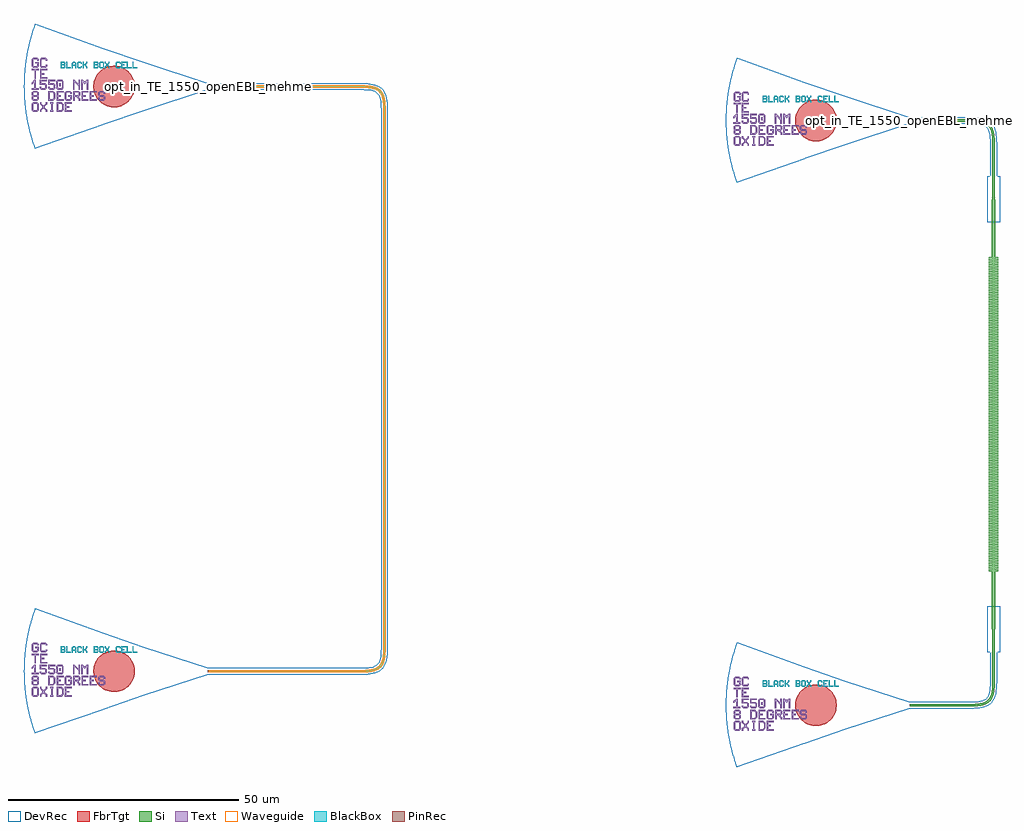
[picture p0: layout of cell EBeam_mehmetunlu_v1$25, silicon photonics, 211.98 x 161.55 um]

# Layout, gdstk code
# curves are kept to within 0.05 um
from math import pi, radians
import gdstk
lib = gdstk.Library(unit=1e-6, precision=1e-09)
def R(c, l, rs):  # rectangles x0, y0, x1, y1
    for r in rs: c.add(gdstk.rectangle(r[:2], r[2:], *l))
def P(c, l, *ps):  # polygons
    for p in ps: c.add(gdstk.Polygon(p, *l))
Si = (1, 0)
PinRec = (1, 10)
Waveguide = (1, 99)
Text = (10, 0)
DevRec = (68, 0)
FbrTgt = (81, 0)
BlackBox = (998, 0)

ebeam_taper_te1550_1_9_1 = lib.new_cell('ebeam_taper_te1550$1$9$1')
P(ebeam_taper_te1550_1_9_1, Si, [(10,-0.35),(0,-0.25),(0,0.25),(10,0.35)])
R(ebeam_taper_te1550_1_9_1, DevRec, [(0,-1.4,10,1.4)])
ebeam_taper_te1550_1_9_1.add(gdstk.FlexPath([(9.99,0),(10.01,0)], 0.7, ends="flush", simple_path=True, layer=1, datatype=10))  # PinRec
ebeam_taper_te1550_1_9_1.add(gdstk.FlexPath([(0.01,0),(-0.01,0)], 0.5, ends="flush", simple_path=True, layer=1, datatype=10))  # PinRec
ebeam_taper_te1550_1_9_1.add(gdstk.Label('pin2', (10,0), layer=1, texttype=10))
ebeam_taper_te1550_1_9_1.add(gdstk.Label('pin1', (0,0), layer=1, texttype=10))
ebeam_taper_te1550_1_9_1.add(gdstk.Label('Spice_param:wg_width1=0.500u wg_width2=0.700u wg_length=10.000u', (1,0.25), layer=68, texttype=0))
ebeam_taper_te1550_1_9_1.add(gdstk.Label('Component=ebeam_taper_te1550', (1,0.125), layer=68, texttype=0))
ebeam_taper_te1550_1_9_1.add(gdstk.Label('Lumerical_INTERCONNECT_library=Design kits/ebeam', (0.05,0), layer=68, texttype=0))

text_1 = lib.new_cell('TEXT$1')
P(text_1, BlackBox, [(0,0),(0,1.4),(0.8,1.4),(1,1.2),(0.2,1.2),(0.2,0.8),(0.7,0.8),(0.8,0.9),(0.8,1.1),(0.7,1.2),(1,1.2),(1,0.8),(0.9,0.7),(1,0.6),(0.2,0.6),(0.2,0.2),(0.7,0.2),(0.8,0.3),(0.8,0.5),(0.7,0.6),(1,0.6),(1,0.2),(0.8,0)],
  [(1.2,0),(1.2,1.4),(1.4,1.4),(1.4,0.2),(2.2,0.2),(2.2,0)],
  [(2.4,0),(2.4,1.1),(2.7,1.4),(3.1,1.4),(3.3,1.2),(2.8,1.2),(2.6,1),(2.6,0.7),(3.2,0.7),(3.2,1),(3,1.2),(3.3,1.2),(3.4,1.1),(3.4,0),(3.2,0),(3.2,0.5),(2.6,0.5),(2.6,0)],
  [(3.8,0),(3.6,0.2),(3.6,1.2),(3.8,1.4),(4.4,1.4),(4.6,1.2),(4.6,1),(4.4,1),(4.4,1.1),(4.3,1.2),(3.9,1.2),(3.8,1.1),(3.8,0.3),(3.9,0.2),(4.3,0.2),(4.4,0.3),(4.4,0.4),(4.6,0.4),(4.6,0.2),(4.4,0)],
  [(4.8,0),(4.8,1.4),(5,1.4),(5,0.8),(5.2,0.8),(5.6,1.2),(5.6,1.4),(5.8,1.4),(5.8,1.1),(5.4,0.7),(5.8,0.3),(5.8,0),(5.6,0),(5.6,0.2),(5.2,0.6),(5,0.6),(5,0)],
  [(7.2,0),(7.2,1.4),(8,1.4),(8.2,1.2),(7.4,1.2),(7.4,0.8),(7.9,0.8),(8,0.9),(8,1.1),(7.9,1.2),(8.2,1.2),(8.2,0.8),(8.1,0.7),(8.2,0.6),(7.4,0.6),(7.4,0.2),(7.9,0.2),(8,0.3),(8,0.5),(7.9,0.6),(8.2,0.6),(8.2,0.2),(8,0)],
  [(8.6,0),(8.4,0.2),(8.4,1.2),(8.6,1.4),(9.2,1.4),(9.4,1.2),(9.4,0.7),(9.2,0.7),(9.2,1.1),(9.1,1.2),(8.7,1.2),(8.6,1.1),(8.6,0.3),(8.7,0.2),(9.1,0.2),(9.2,0.3),(9.2,0.7),(9.4,0.7),(9.4,0.2),(9.2,0)],
  [(9.6,0),(9.6,0.3),(9.9,0.6),(9.9,0.8),(9.6,1.1),(9.6,1.4),(9.8,1.4),(9.8,1.2),(10.1,0.9),(10.4,1.2),(10.4,1.4),(10.6,1.4),(10.6,1.1),(10.3,0.8),(10.3,0.6),(10.6,0.3),(10.6,0),(10.4,0),(10.4,0.2),(10.1,0.5),(9.8,0.2),(9.8,0)],
  [(12.2,0),(12,0.2),(12,1.2),(12.2,1.4),(12.8,1.4),(13,1.2),(13,1),(12.8,1),(12.8,1.1),(12.7,1.2),(12.3,1.2),(12.2,1.1),(12.2,0.3),(12.3,0.2),(12.7,0.2),(12.8,0.3),(12.8,0.4),(13,0.4),(13,0.2),(12.8,0)],
  [(13.2,0),(13.2,1.4),(14.2,1.4),(14.2,1.2),(13.4,1.2),(13.4,0.8),(13.8,0.8),(13.8,0.6),(13.4,0.6),(13.4,0.2),(14.2,0.2),(14.2,0)],
  [(14.4,0),(14.4,1.4),(14.6,1.4),(14.6,0.2),(15.4,0.2),(15.4,0)],
  [(15.6,0),(15.6,1.4),(15.8,1.4),(15.8,0.2),(16.6,0.2),(16.6,0)])

gc_te_1550_8degoxide_bb_ = lib.new_cell('GC_TE_1550_8degOxide_BB$1')
R(gc_te_1550_8degoxide_bb_, Text, [(-32.313,0.092,-32.013,0.692)])
P(gc_te_1550_8degoxide_bb_, Text, [(-37.67,1.71),(-37.67,3.51),(-38.27,3.51),(-38.27,3.81),(-36.77,3.81),(-36.77,3.51),(-37.37,3.51),(-37.37,1.71)],
  [(-37.97,-5.49),(-38.27,-5.19),(-38.27,-3.69),(-37.97,-3.39),(-37.07,-3.39),(-36.77,-3.69),(-36.77,-4.44),(-37.07,-4.44),(-37.07,-3.84),(-37.22,-3.69),(-37.82,-3.69),(-37.97,-3.84),(-37.97,-5.04),(-37.82,-5.19),(-37.22,-5.19),(-37.07,-5.04),(-37.07,-4.44),(-36.77,-4.44),(-36.77,-5.19),(-37.07,-5.49)],
  [(-31.07,-5.49),(-31.07,-3.39),(-29.57,-3.39),(-29.57,-3.69),(-30.77,-3.69),(-30.77,-4.29),(-30.17,-4.29),(-30.17,-4.59),(-30.77,-4.59),(-30.77,-5.19),(-29.57,-5.19),(-29.57,-5.49)],
  [(-32.87,-3.09),(-32.87,-0.99),(-31.37,-0.99),(-31.37,-1.29),(-32.57,-1.29),(-32.57,-1.89),(-31.97,-1.89),(-31.97,-2.19),(-32.57,-2.19),(-32.57,-2.79),(-31.37,-2.79),(-31.37,-3.09)],
  [(-27.47,-3.09),(-27.47,-0.99),(-25.97,-0.99),(-25.97,-1.29),(-27.17,-1.29),(-27.17,-1.89),(-26.57,-1.89),(-26.57,-2.19),(-27.17,-2.19),(-27.17,-2.79),(-25.97,-2.79),(-25.97,-3.09)],
  [(-25.67,-3.09),(-25.67,-0.99),(-24.17,-0.99),(-24.17,-1.29),(-25.37,-1.29),(-25.37,-1.89),(-24.77,-1.89),(-24.77,-2.19),(-25.37,-2.19),(-25.37,-2.79),(-24.17,-2.79),(-24.17,-3.09)],
  [(-36.47,1.71),(-36.47,3.81),(-34.97,3.81),(-34.97,3.51),(-36.17,3.51),(-36.17,2.91),(-35.57,2.91),(-35.57,2.61),(-36.17,2.61),(-36.17,2.01),(-34.97,2.01),(-34.97,1.71)],
  [(-29.313,-0.658),(-29.313,1.442),(-29.013,1.442),(-28.263,0.692),(-28.113,0.692),(-28.113,1.442),(-27.813,1.442),(-27.813,-0.658),(-28.113,-0.658),(-28.113,0.092),(-28.863,0.842),(-29.013,0.842),(-29.013,-0.658)],
  [(-34.22,-5.49),(-34.22,-5.19),(-34.07,-5.19),(-34.07,-3.69),(-34.22,-3.69),(-34.22,-3.39),(-33.62,-3.39),(-33.62,-3.69),(-33.77,-3.69),(-33.77,-5.19),(-33.62,-5.19),(-33.62,-5.49)],
  [(-36.17,4.11),(-36.47,4.41),(-36.47,5.91),(-36.17,6.21),(-35.27,6.21),(-34.97,5.91),(-34.97,5.61),(-35.27,5.61),(-35.27,5.76),(-35.42,5.91),(-36.02,5.91),(-36.17,5.76),(-36.17,4.56),(-36.02,4.41),(-35.42,4.41),(-35.27,4.56),(-35.27,4.71),(-34.97,4.71),(-34.97,4.41),(-35.27,4.11)],
  [(-27.513,-0.658),(-27.513,1.442),(-27.213,1.442),(-26.913,1.142),(-26.613,1.142),(-26.313,1.442),(-26.013,1.442),(-26.013,-0.658),(-26.313,-0.658),(-26.313,0.842),(-26.463,0.842),(-26.763,0.542),(-27.063,0.842),(-27.213,0.842),(-27.213,-0.658)],
  [(-32.613,-0.658),(-32.913,-0.358),(-32.913,1.142),(-32.613,1.442),(-31.713,1.442),(-31.413,1.142),(-32.463,1.142),(-32.613,0.992),(-32.613,-0.208),(-32.463,-0.358),(-31.863,-0.358),(-31.713,-0.208),(-31.713,0.992),(-31.863,1.142),(-31.413,1.142),(-31.413,-0.358),(-31.713,-0.658)],
  [(-32.87,-5.49),(-32.87,-3.39),(-31.82,-3.39),(-31.52,-3.69),(-32.57,-3.69),(-32.57,-5.19),(-31.97,-5.19),(-31.67,-4.89),(-31.67,-3.99),(-31.97,-3.69),(-31.52,-3.69),(-31.37,-3.84),(-31.37,-5.04),(-31.82,-5.49)],
  [(-34.67,-3.09),(-34.67,-0.99),(-33.62,-0.99),(-33.32,-1.29),(-34.37,-1.29),(-34.37,-2.79),(-33.77,-2.79),(-33.47,-2.49),(-33.47,-1.59),(-33.77,-1.29),(-33.32,-1.29),(-33.17,-1.44),(-33.17,-2.64),(-33.62,-3.09)],
  [(-23.57,-3.09),(-23.87,-2.79),(-23.87,-2.49),(-23.57,-2.49),(-23.57,-2.64),(-23.42,-2.79),(-22.82,-2.79),(-22.67,-2.64),(-22.67,-2.34),(-22.82,-2.19),(-23.57,-2.19),(-23.87,-1.89),(-23.87,-1.29),(-23.57,-0.99),(-22.67,-0.99),(-22.37,-1.29),(-22.37,-1.59),(-22.67,-1.59),(-22.67,-1.44),(-22.82,-1.29),(-23.42,-1.29),(-23.57,-1.44),(-23.57,-1.74),(-23.42,-1.89),(-22.67,-1.89),(-22.37,-2.19),(-22.37,-2.79),(-22.67,-3.09)],
  [(-36.213,-0.658),(-36.513,-0.358),(-36.513,-0.058),(-36.213,-0.058),(-36.213,-0.208),(-36.063,-0.358),(-35.463,-0.358),(-35.313,-0.208),(-35.313,0.242),(-35.463,0.392),(-36.513,0.392),(-36.513,1.442),(-35.013,1.442),(-35.013,1.142),(-36.213,1.142),(-36.213,0.692),(-35.313,0.692),(-35.013,0.392),(-35.013,-0.358),(-35.313,-0.658)],
  [(-34.413,-0.658),(-34.713,-0.358),(-34.713,-0.058),(-34.413,-0.058),(-34.413,-0.208),(-34.263,-0.358),(-33.663,-0.358),(-33.513,-0.208),(-33.513,0.242),(-33.663,0.392),(-34.713,0.392),(-34.713,1.442),(-33.213,1.442),(-33.213,1.142),(-34.413,1.142),(-34.413,0.692),(-33.513,0.692),(-33.213,0.392),(-33.213,-0.358),(-33.513,-0.658)],
  [(-37.97,-3.09),(-38.27,-2.79),(-38.27,-2.19),(-38.12,-2.04),(-38.27,-1.89),(-38.27,-1.29),(-37.97,-0.99),(-37.07,-0.99),(-36.77,-1.29),(-37.82,-1.29),(-37.97,-1.44),(-37.97,-1.74),(-37.82,-1.89),(-37.22,-1.89),(-37.07,-1.74),(-37.07,-1.44),(-37.22,-1.29),(-36.77,-1.29),(-36.77,-1.89),(-36.92,-2.04),(-36.77,-2.19),(-37.82,-2.19),(-37.97,-2.34),(-37.97,-2.64),(-37.82,-2.79),(-37.22,-2.79),(-37.07,-2.64),(-37.07,-2.34),(-37.22,-2.19),(-36.77,-2.19),(-36.77,-2.79),(-37.07,-3.09)],
  [(-38.313,-0.658),(-38.313,-0.358),(-37.713,-0.358),(-37.713,0.842),(-37.863,0.842),(-38.163,0.542),(-38.313,0.542),(-38.313,0.842),(-37.713,1.442),(-37.413,1.442),(-37.413,-0.358),(-36.813,-0.358),(-36.813,-0.658)],
  [(-36.47,-5.49),(-36.47,-5.04),(-36.02,-4.59),(-36.02,-4.29),(-36.47,-3.84),(-36.47,-3.39),(-36.17,-3.39),(-36.17,-3.69),(-35.72,-4.14),(-35.27,-3.69),(-35.27,-3.39),(-34.97,-3.39),(-34.97,-3.84),(-35.42,-4.29),(-35.42,-4.59),(-34.97,-5.04),(-34.97,-5.49),(-35.27,-5.49),(-35.27,-5.19),(-35.72,-4.74),(-36.17,-5.19),(-36.17,-5.49)],
  [(-30.77,-3.09),(-31.07,-2.79),(-31.07,-1.29),(-30.77,-0.99),(-29.87,-0.99),(-29.57,-1.29),(-29.57,-1.59),(-29.87,-1.59),(-29.87,-1.44),(-30.02,-1.29),(-30.62,-1.29),(-30.77,-1.44),(-30.77,-2.64),(-30.62,-2.79),(-30.02,-2.79),(-29.87,-2.64),(-29.87,-2.19),(-30.32,-2.19),(-30.32,-1.89),(-29.57,-1.89),(-29.57,-2.79),(-29.87,-3.09)],
  [(-37.97,4.11),(-38.27,4.41),(-38.27,5.91),(-37.97,6.21),(-37.07,6.21),(-36.77,5.91),(-36.77,5.61),(-37.07,5.61),(-37.07,5.76),(-37.22,5.91),(-37.82,5.91),(-37.97,5.76),(-37.97,4.56),(-37.82,4.41),(-37.22,4.41),(-37.07,4.56),(-37.07,5.01),(-37.52,5.01),(-37.52,5.31),(-36.77,5.31),(-36.77,4.41),(-37.07,4.11)],
  [(-29.27,-3.09),(-29.27,-0.99),(-28.07,-0.99),(-27.77,-1.29),(-28.97,-1.29),(-28.97,-1.89),(-28.22,-1.89),(-28.07,-1.74),(-28.07,-1.44),(-28.22,-1.29),(-27.77,-1.29),(-27.77,-1.89),(-28.07,-2.19),(-28.07,-2.34),(-27.77,-2.64),(-27.77,-3.09),(-28.07,-3.09),(-28.07,-2.79),(-28.67,-2.19),(-28.97,-2.19),(-28.97,-3.09)])
P(gc_te_1550_8degoxide_bb_, DevRec, [(-37.607,-13.5),(-38.627,-10.245),(-39.378,-6.832),(-39.835,-3.274),(-39.969,0.224),(-39.812,3.541),(-39.331,7.097),(-38.557,10.505),(-37.546,13.669),(-22.8,8.353),(-14.109,5.36),(0,0.75),(0,-0.75),(-14.109,-5.36)])
P(gc_te_1550_8degoxide_bb_, FbrTgt, [(-20.621,-4.5),(-21.495,-4.37),(-22.326,-4.073),(-23.084,-3.619),(-23.738,-3.026),(-24.264,-2.316),(-24.642,-1.518),(-24.857,-0.661),(-24.9,0.221),(-24.77,1.095),(-24.473,1.926),(-24.019,2.684),(-23.426,3.338),(-22.716,3.864),(-21.918,4.242),(-21.061,4.457),(-20.179,4.5),(-19.305,4.37),(-18.474,4.073),(-17.716,3.619),(-17.062,3.026),(-16.536,2.316),(-16.158,1.518),(-15.943,0.661),(-15.9,-0.221),(-16.03,-1.095),(-16.327,-1.926),(-16.781,-2.684),(-17.374,-3.338),(-18.084,-3.864),(-18.882,-4.242),(-19.739,-4.457)])
gc_te_1550_8degoxide_bb_.add(gdstk.FlexPath([(-0.01,0),(0.01,0)], 0.5, ends="flush", simple_path=True, layer=1, datatype=10))  # PinRec
gc_te_1550_8degoxide_bb_.add(gdstk.Reference(text_1, (-32,4)))
gc_te_1550_8degoxide_bb_.add(gdstk.Label('opt1', (0,0), layer=1, texttype=10))
gc_te_1550_8degoxide_bb_.add(gdstk.Label('Component=GC_TE_1550_8degOxide_BB', (-28,-5), layer=68, texttype=0))

waveguide_3_33_1 = lib.new_cell('Waveguide$3$33$1')
P(waveguide_3_33_1, Si, [(-232.26,134.555),(-232.262,141.837),(-232.351,143.349),(-232.489,144.1),(-232.748,144.821),(-233.045,145.288),(-233.517,145.714),(-234.029,145.981),(-234.669,146.175),(-236.379,146.361),(-250.18,146.37),(-250.18,146.87),(-236.159,146.853),(-234.407,146.626),(-233.713,146.39),(-233.239,146.13),(-232.659,145.604),(-232.241,144.918),(-231.968,144.07),(-231.816,143.052),(-231.76,134.555)])
P(waveguide_3_33_1, DevRec, [(-232.76,134.555),(-232.803,142.851),(-233.036,144.196),(-233.296,144.779),(-233.635,145.178),(-234.115,145.475),(-234.817,145.695),(-236.361,145.86),(-250.18,145.87),(-250.18,147.37),(-235.66,147.324),(-233.983,147.025),(-233.06,146.609),(-232.661,146.318),(-232.313,145.97),(-231.788,145.13),(-231.606,144.648),(-231.372,143.573),(-231.26,141.633),(-231.26,134.555)])
waveguide_3_33_1.add(gdstk.FlexPath([(-232.01,134.565),(-232.01,134.545)], 0.5, ends="flush", simple_path=True, layer=1, datatype=10))  # PinRec
waveguide_3_33_1.add(gdstk.FlexPath([(-250.17,146.62),(-250.19,146.62)], 0.5, ends="flush", simple_path=True, layer=1, datatype=10))  # PinRec
waveguide_3_33_1.add(gdstk.Label('opt2', (-232.01,134.555), layer=1, texttype=10))
waveguide_3_33_1.add(gdstk.Label('opt1', (-250.18,146.62), layer=1, texttype=10))
waveguide_3_33_1.add(gdstk.Label('waveguide_type=Strip TE 1550 nm, w=500 nm', (-250.18,146.42), layer=68, texttype=0))
waveguide_3_33_1.add(gdstk.Label('Spice_param:wg_length=0.000028683 wg_width=5e-07 points="[[-250.18,146.62],[-232.01,146.62],[-232.01,134.555]]" radius=5e-06', (-250.18,146.62), layer=68, texttype=0))
waveguide_3_33_1.add(gdstk.Label('cellName=Waveguide', (-250.18,146.82), layer=68, texttype=0))
waveguide_3_33_1.add(gdstk.Label('Component=ebeam_wg_integral_1550', (-250.18,146.72), layer=68, texttype=0))
waveguide_3_33_1.add(gdstk.Label('Length=28.683 (microns)', (-250.18,146.02), layer=68, texttype=0))
waveguide_3_33_1.add(gdstk.Label('Lumerical_INTERCONNECT_library=Design kits/EBeam', (-250.18,146.52), layer=68, texttype=0))

waveguide_9_24_1 = lib.new_cell('Waveguide$9$24$1')
P(waveguide_9_24_1, Si, [(167.75,-199.92),(167.75,-199.42),(181.551,-199.411),(183.261,-199.225),(183.901,-199.031),(184.413,-198.764),(184.816,-198.417),(185.129,-197.974),(185.366,-197.412),(185.532,-196.715),(185.665,-195.098),(185.67,-188.145),(186.17,-188.145),(186.165,-195.108),(186.051,-196.634),(185.842,-197.564),(185.567,-198.214),(185.097,-198.847),(184.58,-199.251),(184.087,-199.495),(183.369,-199.713),(181.771,-199.903)])
P(waveguide_9_24_1, DevRec, [(167.75,-200.42),(167.75,-198.92),(181.569,-198.91),(183.113,-198.745),(184.078,-198.385),(184.477,-198.046),(184.774,-197.566),(184.994,-196.864),(185.127,-195.901),(185.17,-188.145),(186.67,-188.145),(186.67,-194.683),(186.558,-196.623),(186.324,-197.698),(185.908,-198.621),(185.617,-199.02),(184.87,-199.659),(184.429,-199.893),(183.429,-200.211),(181.621,-200.41)])
waveguide_9_24_1.add(gdstk.FlexPath([(185.92,-188.155),(185.92,-188.135)], 0.5, ends="flush", simple_path=True, layer=1, datatype=10))  # PinRec
waveguide_9_24_1.add(gdstk.FlexPath([(167.76,-199.67),(167.74,-199.67)], 0.5, ends="flush", simple_path=True, layer=1, datatype=10))  # PinRec
waveguide_9_24_1.add(gdstk.Label('opt2', (185.92,-188.145), layer=1, texttype=10))
waveguide_9_24_1.add(gdstk.Label('opt1', (167.75,-199.67), layer=1, texttype=10))
waveguide_9_24_1.add(gdstk.Label('waveguide_type=Strip TE 1550 nm, w=500 nm', (167.75,-199.87), layer=68, texttype=0))
waveguide_9_24_1.add(gdstk.Label('Length=28.143 (microns)', (167.75,-200.27), layer=68, texttype=0))
waveguide_9_24_1.add(gdstk.Label('Spice_param:wg_length=0.000028143 wg_width=5e-07 points="[[167.75,-199.67],[185.92,-199.67],[185.92,-188.145]]" radius=5e-06', (167.75,-199.67), layer=68, texttype=0))
waveguide_9_24_1.add(gdstk.Label('cellName=Waveguide', (167.75,-199.47), layer=68, texttype=0))
waveguide_9_24_1.add(gdstk.Label('Component=ebeam_wg_integral_1550', (167.75,-199.57), layer=68, texttype=0))
waveguide_9_24_1.add(gdstk.Label('Lumerical_INTERCONNECT_library=Design kits/EBeam', (167.75,-199.77), layer=68, texttype=0))

transition_tests_v03_d02 = lib.new_cell('transition_tests_v03_D02$1')
P(transition_tests_v03_d02, Si, [(9.5,0),(9.5,0.825),(9.31,0.825),(9.31,0.025),(9.12,0.025),(9.12,0.8),(8.93,0.8),(8.93,0.025),(8.74,0.025),(8.74,0.775),(8.55,0.775),(8.55,0.025),(8.36,0.025),(8.36,0.75),(8.17,0.75),(8.17,0.025),(7.98,0.025),(7.98,0.725),(7.79,0.725),(7.79,0.025),(7.6,0.025),(7.6,0.7),(0,0.7),(0,1.4),(7.6,1.4),(7.6,2.075),(7.79,2.075),(7.79,1.375),(7.98,1.375),(7.98,2.075),(8.17,2.075),(8.17,1.35),(8.36,1.35),(8.36,2.075),(8.55,2.075),(8.55,1.325),(8.74,1.325),(8.74,2.075),(8.93,2.075),(8.93,1.3),(9.12,1.3),(9.12,2.075),(9.31,2.075),(9.31,1.275),(9.5,1.275),(9.5,2.1),(9.69,2.1),(9.69,1.275),(9.88,1.275),(9.88,2.1),(10.07,2.1),(10.07,1.275),(10.26,1.275),(10.26,2.1),(10.45,2.1),(10.45,1.275),(10.64,1.275),(10.64,2.1),(10.83,2.1),(10.83,1.275),(11.02,1.275),(11.02,2.1),(11.21,2.1),(11.21,1.275),(11.4,1.275),(11.4,2.1),(11.59,2.1),(11.59,1.275),(11.78,1.275),(11.78,2.1),(11.97,2.1),(11.97,1.275),(12.16,1.275),(12.16,2.1),(12.35,2.1),(12.35,1.275),(12.54,1.275),(12.54,2.1),(12.73,2.1),(12.73,1.275),(12.92,1.275),(12.92,2.1),(13.11,2.1),(13.11,1.275),(13.3,1.275),(13.3,2.1),(13.49,2.1),(13.49,1.275),(13.68,1.275),(13.68,2.1),(13.87,2.1),(13.87,1.275),(14.06,1.275),(14.06,2.1),(14.25,2.1),(14.25,1.275),(14.44,1.275),(14.44,2.1),(14.63,2.1),(14.63,1.275),(14.82,1.275),(14.82,2.1),(15.01,2.1),(15.01,1.275),(15.2,1.275),(15.2,2.1),(15.39,2.1),(15.39,1.275),(15.58,1.275),(15.58,2.1),(15.77,2.1),(15.77,1.275),(15.96,1.275),(15.96,2.1),(16.15,2.1),(16.15,1.275),(16.34,1.275),(16.34,2.1),(16.53,2.1),(16.53,1.275),(16.72,1.275),(16.72,2.1),(16.91,2.1),(16.91,1.275),(17.1,1.275),(17.1,2.1),(17.29,2.1),(17.29,1.275),(17.48,1.275),(17.48,2.1),(17.67,2.1),(17.67,1.275),(17.86,1.275),(17.86,2.1),(18.05,2.1),(18.05,1.275),(18.24,1.275),(18.24,2.1),(18.43,2.1),(18.43,1.275),(18.62,1.275),(18.62,2.1),(18.81,2.1),(18.81,1.275),(19,1.275),(19,2.1),(19.19,2.1),(19.19,1.275),(19.38,1.275),(19.38,2.1),(19.57,2.1),(19.57,1.275),(19.76,1.275),(19.76,2.1),(19.95,2.1),(19.95,1.275),(20.14,1.275),(20.14,2.1),(20.33,2.1),(20.33,1.275),(20.52,1.275),(20.52,2.1),(20.71,2.1),(20.71,1.275),(20.9,1.275),(20.9,2.1),(21.09,2.1),(21.09,1.275),(21.28,1.275),(21.28,2.1),(21.47,2.1),(21.47,1.275),(21.66,1.275),(21.66,2.1),(21.85,2.1),(21.85,1.275),(22.04,1.275),(22.04,2.1),(22.23,2.1),(22.23,1.275),(22.42,1.275),(22.42,2.1),(22.61,2.1),(22.61,1.275),(22.8,1.275),(22.8,2.1),(22.99,2.1),(22.99,1.275),(23.18,1.275),(23.18,2.1),(23.37,2.1),(23.37,1.275),(23.56,1.275),(23.56,2.1),(23.75,2.1),(23.75,1.275),(23.94,1.275),(23.94,2.1),(24.13,2.1),(24.13,1.275),(24.32,1.275),(24.32,2.1),(24.51,2.1),(24.51,1.275),(24.7,1.275),(24.7,2.1),(24.89,2.1),(24.89,1.275),(25.08,1.275),(25.08,2.1),(25.27,2.1),(25.27,1.275),(25.46,1.275),(25.46,2.1),(25.65,2.1),(25.65,1.275),(25.84,1.275),(25.84,2.1),(26.03,2.1),(26.03,1.275),(26.22,1.275),(26.22,2.1),(26.41,2.1),(26.41,1.275),(26.6,1.275),(26.6,2.1),(26.79,2.1),(26.79,1.275),(26.98,1.275),(26.98,2.1),(27.17,2.1),(27.17,1.275),(27.36,1.275),(27.36,2.1),(27.55,2.1),(27.55,1.275),(27.74,1.275),(27.74,2.1),(27.93,2.1),(27.93,1.275),(28.12,1.275),(28.12,2.1),(28.31,2.1),(28.31,1.275),(28.5,1.275),(28.5,2.1),(28.69,2.1),(28.69,1.275),(28.88,1.275),(28.88,2.1),(29.07,2.1),(29.07,1.275),(29.26,1.275),(29.26,2.1),(29.45,2.1),(29.45,1.275),(29.64,1.275),(29.64,2.1),(29.83,2.1),(29.83,1.275),(30.02,1.275),(30.02,2.1),(30.21,2.1),(30.21,1.275),(30.4,1.275),(30.4,2.1),(30.59,2.1),(30.59,1.275),(30.78,1.275),(30.78,2.1),(30.97,2.1),(30.97,1.275),(31.16,1.275),(31.16,2.1),(31.35,2.1),(31.35,1.275),(31.54,1.275),(31.54,2.1),(31.73,2.1),(31.73,1.275),(31.92,1.275),(31.92,2.1),(32.11,2.1),(32.11,1.275),(32.3,1.275),(32.3,2.1),(32.49,2.1),(32.49,1.275),(32.68,1.275),(32.68,2.1),(32.87,2.1),(32.87,1.275),(33.06,1.275),(33.06,2.1),(33.25,2.1),(33.25,1.275),(33.44,1.275),(33.44,2.1),(33.63,2.1),(33.63,1.275),(33.82,1.275),(33.82,2.1),(34.01,2.1),(34.01,1.275),(34.2,1.275),(34.2,2.1),(34.39,2.1),(34.39,1.275),(34.58,1.275),(34.58,2.1),(34.77,2.1),(34.77,1.275),(34.96,1.275),(34.96,2.1),(35.15,2.1),(35.15,1.275),(35.34,1.275),(35.34,2.1),(35.53,2.1),(35.53,1.275),(35.72,1.275),(35.72,2.1),(35.91,2.1),(35.91,1.275),(36.1,1.275),(36.1,2.1),(36.29,2.1),(36.29,1.275),(36.48,1.275),(36.48,2.1),(36.67,2.1),(36.67,1.275),(36.86,1.275),(36.86,2.1),(37.05,2.1),(37.05,1.275),(37.24,1.275),(37.24,2.1),(37.43,2.1),(37.43,1.275),(37.62,1.275),(37.62,2.1),(37.81,2.1),(37.81,1.275),(38,1.275),(38,2.1),(38.19,2.1),(38.19,1.275),(38.38,1.275),(38.38,2.1),(38.57,2.1),(38.57,1.275),(38.76,1.275),(38.76,2.1),(38.95,2.1),(38.95,1.275),(39.14,1.275),(39.14,2.1),(39.33,2.1),(39.33,1.275),(39.52,1.275),(39.52,2.1),(39.71,2.1),(39.71,1.275),(39.9,1.275),(39.9,2.1),(40.09,2.1),(40.09,1.275),(40.28,1.275),(40.28,2.1),(40.47,2.1),(40.47,1.275),(40.66,1.275),(40.66,2.1),(40.85,2.1),(40.85,1.275),(41.04,1.275),(41.04,2.1),(41.23,2.1),(41.23,1.275),(41.42,1.275),(41.42,2.1),(41.61,2.1),(41.61,1.275),(41.8,1.275),(41.8,2.1),(41.99,2.1),(41.99,1.275),(42.18,1.275),(42.18,2.1),(42.37,2.1),(42.37,1.275),(42.56,1.275),(42.56,2.1),(42.75,2.1),(42.75,1.275),(42.94,1.275),(42.94,2.1),(43.13,2.1),(43.13,1.275),(43.32,1.275),(43.32,2.1),(43.51,2.1),(43.51,1.275),(43.7,1.275),(43.7,2.1),(43.89,2.1),(43.89,1.275),(44.08,1.275),(44.08,2.1),(44.27,2.1),(44.27,1.275),(44.46,1.275),(44.46,2.1),(44.65,2.1),(44.65,1.275),(44.84,1.275),(44.84,2.1),(45.03,2.1),(45.03,1.275),(45.22,1.275),(45.22,2.1),(45.41,2.1),(45.41,1.275),(45.6,1.275),(45.6,2.1),(45.79,2.1),(45.79,1.275),(45.98,1.275),(45.98,2.1),(46.17,2.1),(46.17,1.275),(46.36,1.275),(46.36,2.1),(46.55,2.1),(46.55,1.275),(46.74,1.275),(46.74,2.1),(46.93,2.1),(46.93,1.275),(47.12,1.275),(47.12,2.1),(47.31,2.1),(47.31,1.275),(47.5,1.275),(47.5,2.1),(47.69,2.1),(47.69,1.275),(47.88,1.275),(47.88,2.1),(48.07,2.1),(48.07,1.275),(48.26,1.275),(48.26,2.1),(48.45,2.1),(48.45,1.275),(48.64,1.275),(48.64,2.1),(48.83,2.1),(48.83,1.275),(49.02,1.275),(49.02,2.1),(49.21,2.1),(49.21,1.275),(49.4,1.275),(49.4,2.1),(49.59,2.1),(49.59,1.275),(49.78,1.275),(49.78,2.1),(49.97,2.1),(49.97,1.275),(50.16,1.275),(50.16,2.1),(50.35,2.1),(50.35,1.275),(50.54,1.275),(50.54,2.1),(50.73,2.1),(50.73,1.275),(50.92,1.275),(50.92,2.1),(51.11,2.1),(51.11,1.275),(51.3,1.275),(51.3,2.1),(51.49,2.1),(51.49,1.275),(51.68,1.275),(51.68,2.1),(51.87,2.1),(51.87,1.275),(52.06,1.275),(52.06,2.1),(52.25,2.1),(52.25,1.275),(52.44,1.275),(52.44,2.1),(52.63,2.1),(52.63,1.275),(52.82,1.275),(52.82,2.1),(53.01,2.1),(53.01,1.275),(53.2,1.275),(53.2,2.1),(53.39,2.1),(53.39,1.275),(53.58,1.275),(53.58,2.1),(53.77,2.1),(53.77,1.275),(53.96,1.275),(53.96,2.1),(54.15,2.1),(54.15,1.275),(54.34,1.275),(54.34,2.1),(54.53,2.1),(54.53,1.275),(54.72,1.275),(54.72,2.1),(54.91,2.1),(54.91,1.275),(55.1,1.275),(55.1,2.1),(55.29,2.1),(55.29,1.275),(55.48,1.275),(55.48,2.1),(55.67,2.1),(55.67,1.275),(55.86,1.275),(55.86,2.1),(56.05,2.1),(56.05,1.275),(56.24,1.275),(56.24,2.1),(56.43,2.1),(56.43,1.275),(56.62,1.275),(56.62,2.1),(56.81,2.1),(56.81,1.275),(57,1.275),(57,2.1),(57.19,2.1),(57.19,1.275),(57.38,1.275),(57.38,2.1),(57.57,2.1),(57.57,1.275),(57.76,1.275),(57.76,2.1),(57.95,2.1),(57.95,1.275),(58.14,1.275),(58.14,2.1),(58.33,2.1),(58.33,1.275),(58.52,1.275),(58.52,2.1),(58.71,2.1),(58.71,1.275),(58.9,1.275),(58.9,2.1),(59.09,2.1),(59.09,1.275),(59.28,1.275),(59.28,2.1),(59.47,2.1),(59.47,1.275),(59.66,1.275),(59.66,2.1),(59.85,2.1),(59.85,1.275),(60.04,1.275),(60.04,2.1),(60.23,2.1),(60.23,1.275),(60.42,1.275),(60.42,2.1),(60.61,2.1),(60.61,1.275),(60.8,1.275),(60.8,2.1),(60.99,2.1),(60.99,1.275),(61.18,1.275),(61.18,2.1),(61.37,2.1),(61.37,1.275),(61.56,1.275),(61.56,2.1),(61.75,2.1),(61.75,1.275),(61.94,1.275),(61.94,2.1),(62.13,2.1),(62.13,1.275),(62.32,1.275),(62.32,2.1),(62.51,2.1),(62.51,1.275),(62.7,1.275),(62.7,2.1),(62.89,2.1),(62.89,1.275),(63.08,1.275),(63.08,2.1),(63.27,2.1),(63.27,1.275),(63.46,1.275),(63.46,2.1),(63.65,2.1),(63.65,1.275),(63.84,1.275),(63.84,2.1),(64.03,2.1),(64.03,1.275),(64.22,1.275),(64.22,2.1),(64.41,2.1),(64.41,1.275),(64.6,1.275),(64.6,2.1),(64.79,2.1),(64.79,1.275),(64.98,1.275),(64.98,2.1),(65.17,2.1),(65.17,1.275),(65.36,1.275),(65.36,2.1),(65.55,2.1),(65.55,1.275),(65.74,1.275),(65.74,2.1),(65.93,2.1),(65.93,1.275),(66.12,1.275),(66.12,2.1),(66.31,2.1),(66.31,1.275),(66.5,1.275),(66.5,2.1),(66.69,2.1),(66.69,1.275),(66.88,1.275),(66.88,2.1),(67.07,2.1),(67.07,1.275),(67.26,1.275),(67.26,2.1),(67.45,2.1),(67.45,1.275),(67.64,1.275),(67.64,2.1),(67.83,2.1),(67.83,1.275),(68.02,1.275),(68.02,2.1),(68.21,2.1),(68.21,1.275),(68.4,1.275),(68.4,2.1),(68.59,2.1),(68.59,1.275),(68.78,1.275),(68.78,2.1),(68.97,2.1),(68.97,1.275),(69.16,1.275),(69.16,2.1),(69.35,2.1),(69.35,1.275),(69.54,1.275),(69.54,2.1),(69.73,2.1),(69.73,1.275),(69.92,1.275),(69.92,2.1),(70.11,2.1),(70.11,1.275),(70.3,1.275),(70.3,2.1),(70.49,2.1),(70.49,1.275),(70.68,1.275),(70.68,2.1),(70.87,2.1),(70.87,1.275),(71.06,1.275),(71.06,2.1),(71.25,2.1),(71.25,1.275),(71.44,1.275),(71.44,2.1),(71.63,2.1),(71.63,1.275),(71.82,1.275),(71.82,2.1),(72.01,2.1),(72.01,1.275),(72.2,1.275),(72.2,2.1),(72.39,2.1),(72.39,1.275),(72.58,1.275),(72.58,2.1),(72.77,2.1),(72.77,1.275),(72.96,1.275),(72.96,2.1),(73.15,2.1),(73.15,1.275),(73.34,1.275),(73.34,2.1),(73.53,2.1),(73.53,1.275),(73.72,1.275),(73.72,2.1),(73.91,2.1),(73.91,1.275),(74.1,1.275),(74.1,2.075),(74.29,2.075),(74.29,1.3),(74.48,1.3),(74.48,2.075),(74.67,2.075),(74.67,1.325),(74.86,1.325),(74.86,2.075),(75.05,2.075),(75.05,1.35),(75.24,1.35),(75.24,2.075),(75.43,2.075),(75.43,1.375),(75.62,1.375),(75.62,2.075),(75.81,2.075),(75.81,1.4),(83.41,1.4),(83.41,0.7),(75.81,0.7),(75.81,0.025),(75.62,0.025),(75.62,0.725),(75.43,0.725),(75.43,0.025),(75.24,0.025),(75.24,0.75),(75.05,0.75),(75.05,0.025),(74.86,0.025),(74.86,0.775),(74.67,0.775),(74.67,0.025),(74.48,0.025),(74.48,0.8),(74.29,0.8),(74.29,0.025),(74.1,0.025),(74.1,0.825),(73.91,0.825),(73.91,0),(73.72,0),(73.72,0.825),(73.53,0.825),(73.53,0),(73.34,0),(73.34,0.825),(73.15,0.825),(73.15,0),(72.96,0),(72.96,0.825),(72.77,0.825),(72.77,0),(72.58,0),(72.58,0.825),(72.39,0.825),(72.39,0),(72.2,0),(72.2,0.825),(72.01,0.825),(72.01,0),(71.82,0),(71.82,0.825),(71.63,0.825),(71.63,0),(71.44,0),(71.44,0.825),(71.25,0.825),(71.25,0),(71.06,0),(71.06,0.825),(70.87,0.825),(70.87,0),(70.68,0),(70.68,0.825),(70.49,0.825),(70.49,0),(70.3,0),(70.3,0.825),(70.11,0.825),(70.11,0),(69.92,0),(69.92,0.825),(69.73,0.825),(69.73,0),(69.54,0),(69.54,0.825),(69.35,0.825),(69.35,0),(69.16,0),(69.16,0.825),(68.97,0.825),(68.97,0),(68.78,0),(68.78,0.825),(68.59,0.825),(68.59,0),(68.4,0),(68.4,0.825),(68.21,0.825),(68.21,0),(68.02,0),(68.02,0.825),(67.83,0.825),(67.83,0),(67.64,0),(67.64,0.825),(67.45,0.825),(67.45,0),(67.26,0),(67.26,0.825),(67.07,0.825),(67.07,0),(66.88,0),(66.88,0.825),(66.69,0.825),(66.69,0),(66.5,0),(66.5,0.825),(66.31,0.825),(66.31,0),(66.12,0),(66.12,0.825),(65.93,0.825),(65.93,0),(65.74,0),(65.74,0.825),(65.55,0.825),(65.55,0),(65.36,0),(65.36,0.825),(65.17,0.825),(65.17,0),(64.98,0),(64.98,0.825),(64.79,0.825),(64.79,0),(64.6,0),(64.6,0.825),(64.41,0.825),(64.41,0),(64.22,0),(64.22,0.825),(64.03,0.825),(64.03,0),(63.84,0),(63.84,0.825),(63.65,0.825),(63.65,0),(63.46,0),(63.46,0.825),(63.27,0.825),(63.27,0),(63.08,0),(63.08,0.825),(62.89,0.825),(62.89,0),(62.7,0),(62.7,0.825),(62.51,0.825),(62.51,0),(62.32,0),(62.32,0.825),(62.13,0.825),(62.13,0),(61.94,0),(61.94,0.825),(61.75,0.825),(61.75,0),(61.56,0),(61.56,0.825),(61.37,0.825),(61.37,0),(61.18,0),(61.18,0.825),(60.99,0.825),(60.99,0),(60.8,0),(60.8,0.825),(60.61,0.825),(60.61,0),(60.42,0),(60.42,0.825),(60.23,0.825),(60.23,0),(60.04,0),(60.04,0.825),(59.85,0.825),(59.85,0),(59.66,0),(59.66,0.825),(59.47,0.825),(59.47,0),(59.28,0),(59.28,0.825),(59.09,0.825),(59.09,0),(58.9,0),(58.9,0.825),(58.71,0.825),(58.71,0),(58.52,0),(58.52,0.825),(58.33,0.825),(58.33,0),(58.14,0),(58.14,0.825),(57.95,0.825),(57.95,0),(57.76,0),(57.76,0.825),(57.57,0.825),(57.57,0),(57.38,0),(57.38,0.825),(57.19,0.825),(57.19,0),(57,0),(57,0.825),(56.81,0.825),(56.81,0),(56.62,0),(56.62,0.825),(56.43,0.825),(56.43,0),(56.24,0),(56.24,0.825),(56.05,0.825),(56.05,0),(55.86,0),(55.86,0.825),(55.67,0.825),(55.67,0),(55.48,0),(55.48,0.825),(55.29,0.825),(55.29,0),(55.1,0),(55.1,0.825),(54.91,0.825),(54.91,0),(54.72,0),(54.72,0.825),(54.53,0.825),(54.53,0),(54.34,0),(54.34,0.825),(54.15,0.825),(54.15,0),(53.96,0),(53.96,0.825),(53.77,0.825),(53.77,0),(53.58,0),(53.58,0.825),(53.39,0.825),(53.39,0),(53.2,0),(53.2,0.825),(53.01,0.825),(53.01,0),(52.82,0),(52.82,0.825),(52.63,0.825),(52.63,0),(52.44,0),(52.44,0.825),(52.25,0.825),(52.25,0),(52.06,0),(52.06,0.825),(51.87,0.825),(51.87,0),(51.68,0),(51.68,0.825),(51.49,0.825),(51.49,0),(51.3,0),(51.3,0.825),(51.11,0.825),(51.11,0),(50.92,0),(50.92,0.825),(50.73,0.825),(50.73,0),(50.54,0),(50.54,0.825),(50.35,0.825),(50.35,0),(50.16,0),(50.16,0.825),(49.97,0.825),(49.97,0),(49.78,0),(49.78,0.825),(49.59,0.825),(49.59,0),(49.4,0),(49.4,0.825),(49.21,0.825),(49.21,0),(49.02,0),(49.02,0.825),(48.83,0.825),(48.83,0),(48.64,0),(48.64,0.825),(48.45,0.825),(48.45,0),(48.26,0),(48.26,0.825),(48.07,0.825),(48.07,0),(47.88,0),(47.88,0.825),(47.69,0.825),(47.69,0),(47.5,0),(47.5,0.825),(47.31,0.825),(47.31,0),(47.12,0),(47.12,0.825),(46.93,0.825),(46.93,0),(46.74,0),(46.74,0.825),(46.55,0.825),(46.55,0),(46.36,0),(46.36,0.825),(46.17,0.825),(46.17,0),(45.98,0),(45.98,0.825),(45.79,0.825),(45.79,0),(45.6,0),(45.6,0.825),(45.41,0.825),(45.41,0),(45.22,0),(45.22,0.825),(45.03,0.825),(45.03,0),(44.84,0),(44.84,0.825),(44.65,0.825),(44.65,0),(44.46,0),(44.46,0.825),(44.27,0.825),(44.27,0),(44.08,0),(44.08,0.825),(43.89,0.825),(43.89,0),(43.7,0),(43.7,0.825),(43.51,0.825),(43.51,0),(43.32,0),(43.32,0.825),(43.13,0.825),(43.13,0),(42.94,0),(42.94,0.825),(42.75,0.825),(42.75,0),(42.56,0),(42.56,0.825),(42.37,0.825),(42.37,0),(42.18,0),(42.18,0.825),(41.99,0.825),(41.99,0),(41.8,0),(41.8,0.825),(41.61,0.825),(41.61,0),(41.42,0),(41.42,0.825),(41.23,0.825),(41.23,0),(41.04,0),(41.04,0.825),(40.85,0.825),(40.85,0),(40.66,0),(40.66,0.825),(40.47,0.825),(40.47,0),(40.28,0),(40.28,0.825),(40.09,0.825),(40.09,0),(39.9,0),(39.9,0.825),(39.71,0.825),(39.71,0),(39.52,0),(39.52,0.825),(39.33,0.825),(39.33,0),(39.14,0),(39.14,0.825),(38.95,0.825),(38.95,0),(38.76,0),(38.76,0.825),(38.57,0.825),(38.57,0),(38.38,0),(38.38,0.825),(38.19,0.825),(38.19,0),(38,0),(38,0.825),(37.81,0.825),(37.81,0),(37.62,0),(37.62,0.825),(37.43,0.825),(37.43,0),(37.24,0),(37.24,0.825),(37.05,0.825),(37.05,0),(36.86,0),(36.86,0.825),(36.67,0.825),(36.67,0),(36.48,0),(36.48,0.825),(36.29,0.825),(36.29,0),(36.1,0),(36.1,0.825),(35.91,0.825),(35.91,0),(35.72,0),(35.72,0.825),(35.53,0.825),(35.53,0),(35.34,0),(35.34,0.825),(35.15,0.825),(35.15,0),(34.96,0),(34.96,0.825),(34.77,0.825),(34.77,0),(34.58,0),(34.58,0.825),(34.39,0.825),(34.39,0),(34.2,0),(34.2,0.825),(34.01,0.825),(34.01,0),(33.82,0),(33.82,0.825),(33.63,0.825),(33.63,0),(33.44,0),(33.44,0.825),(33.25,0.825),(33.25,0),(33.06,0),(33.06,0.825),(32.87,0.825),(32.87,0),(32.68,0),(32.68,0.825),(32.49,0.825),(32.49,0),(32.3,0),(32.3,0.825),(32.11,0.825),(32.11,0),(31.92,0),(31.92,0.825),(31.73,0.825),(31.73,0),(31.54,0),(31.54,0.825),(31.35,0.825),(31.35,0),(31.16,0),(31.16,0.825),(30.97,0.825),(30.97,0),(30.78,0),(30.78,0.825),(30.59,0.825),(30.59,0),(30.4,0),(30.4,0.825),(30.21,0.825),(30.21,0),(30.02,0),(30.02,0.825),(29.83,0.825),(29.83,0),(29.64,0),(29.64,0.825),(29.45,0.825),(29.45,0),(29.26,0),(29.26,0.825),(29.07,0.825),(29.07,0),(28.88,0),(28.88,0.825),(28.69,0.825),(28.69,0),(28.5,0),(28.5,0.825),(28.31,0.825),(28.31,0),(28.12,0),(28.12,0.825),(27.93,0.825),(27.93,0),(27.74,0),(27.74,0.825),(27.55,0.825),(27.55,0),(27.36,0),(27.36,0.825),(27.17,0.825),(27.17,0),(26.98,0),(26.98,0.825),(26.79,0.825),(26.79,0),(26.6,0),(26.6,0.825),(26.41,0.825),(26.41,0),(26.22,0),(26.22,0.825),(26.03,0.825),(26.03,0),(25.84,0),(25.84,0.825),(25.65,0.825),(25.65,0),(25.46,0),(25.46,0.825),(25.27,0.825),(25.27,0),(25.08,0),(25.08,0.825),(24.89,0.825),(24.89,0),(24.7,0),(24.7,0.825),(24.51,0.825),(24.51,0),(24.32,0),(24.32,0.825),(24.13,0.825),(24.13,0),(23.94,0),(23.94,0.825),(23.75,0.825),(23.75,0),(23.56,0),(23.56,0.825),(23.37,0.825),(23.37,0),(23.18,0),(23.18,0.825),(22.99,0.825),(22.99,0),(22.8,0),(22.8,0.825),(22.61,0.825),(22.61,0),(22.42,0),(22.42,0.825),(22.23,0.825),(22.23,0),(22.04,0),(22.04,0.825),(21.85,0.825),(21.85,0),(21.66,0),(21.66,0.825),(21.47,0.825),(21.47,0),(21.28,0),(21.28,0.825),(21.09,0.825),(21.09,0),(20.9,0),(20.9,0.825),(20.71,0.825),(20.71,0),(20.52,0),(20.52,0.825),(20.33,0.825),(20.33,0),(20.14,0),(20.14,0.825),(19.95,0.825),(19.95,0),(19.76,0),(19.76,0.825),(19.57,0.825),(19.57,0),(19.38,0),(19.38,0.825),(19.19,0.825),(19.19,0),(19,0),(19,0.825),(18.81,0.825),(18.81,0),(18.62,0),(18.62,0.825),(18.43,0.825),(18.43,0),(18.24,0),(18.24,0.825),(18.05,0.825),(18.05,0),(17.86,0),(17.86,0.825),(17.67,0.825),(17.67,0),(17.48,0),(17.48,0.825),(17.29,0.825),(17.29,0),(17.1,0),(17.1,0.825),(16.91,0.825),(16.91,0),(16.72,0),(16.72,0.825),(16.53,0.825),(16.53,0),(16.34,0),(16.34,0.825),(16.15,0.825),(16.15,0),(15.96,0),(15.96,0.825),(15.77,0.825),(15.77,0),(15.58,0),(15.58,0.825),(15.39,0.825),(15.39,0),(15.2,0),(15.2,0.825),(15.01,0.825),(15.01,0),(14.82,0),(14.82,0.825),(14.63,0.825),(14.63,0),(14.44,0),(14.44,0.825),(14.25,0.825),(14.25,0),(14.06,0),(14.06,0.825),(13.87,0.825),(13.87,0),(13.68,0),(13.68,0.825),(13.49,0.825),(13.49,0),(13.3,0),(13.3,0.825),(13.11,0.825),(13.11,0),(12.92,0),(12.92,0.825),(12.73,0.825),(12.73,0),(12.54,0),(12.54,0.825),(12.35,0.825),(12.35,0),(12.16,0),(12.16,0.825),(11.97,0.825),(11.97,0),(11.78,0),(11.78,0.825),(11.59,0.825),(11.59,0),(11.4,0),(11.4,0.825),(11.21,0.825),(11.21,0),(11.02,0),(11.02,0.825),(10.83,0.825),(10.83,0),(10.64,0),(10.64,0.825),(10.45,0.825),(10.45,0),(10.26,0),(10.26,0.825),(10.07,0.825),(10.07,0),(9.88,0),(9.88,0.825),(9.69,0.825),(9.69,0)])

waveguide_3 = lib.new_cell('Waveguide$3')
P(waveguide_3, Si, [(-229.94,9.56),(-229.94,10.06),(-195.413,10.099),(-194.14,10.289),(-193.126,10.717),(-192.526,11.317),(-192.134,12.198),(-191.923,13.425),(-191.87,14.81),(-191.87,131.81),(-191.942,133.37),(-192.174,134.552),(-192.655,135.478),(-193.317,136.02),(-194.279,136.365),(-195.599,136.533),(-229.94,136.56),(-229.94,137.06),(-196.399,137.059),(-195.007,136.987),(-193.87,136.776),(-193.323,136.58),(-192.74,136.243),(-192.354,135.893),(-191.973,135.354),(-191.745,134.843),(-191.546,134.103),(-191.375,132.248),(-191.37,14.81),(-191.443,13.197),(-191.654,12.06),(-191.85,11.513),(-192.187,10.93),(-192.537,10.544),(-192.959,10.23),(-194.016,9.805),(-195.57,9.588)])
P(waveguide_3, Waveguide, [(-229.94,9.56),(-229.94,10.06),(-195.413,10.099),(-194.14,10.289),(-193.126,10.717),(-192.526,11.317),(-192.134,12.198),(-191.923,13.425),(-191.87,14.81),(-191.87,131.81),(-191.942,133.37),(-192.174,134.552),(-192.655,135.478),(-193.317,136.02),(-194.279,136.365),(-195.599,136.533),(-229.94,136.56),(-229.94,137.06),(-196.399,137.059),(-195.007,136.987),(-193.87,136.776),(-193.323,136.58),(-192.74,136.243),(-192.354,135.893),(-191.973,135.354),(-191.745,134.843),(-191.546,134.103),(-191.375,132.248),(-191.37,14.81),(-191.443,13.197),(-191.654,12.06),(-191.85,11.513),(-192.187,10.93),(-192.537,10.544),(-192.959,10.23),(-194.016,9.805),(-195.57,9.588)])
P(waveguide_3, DevRec, [(-229.94,9.06),(-229.94,10.56),(-196.62,10.56),(-194.875,10.658),(-193.724,10.956),(-193.244,11.253),(-192.905,11.652),(-192.645,12.235),(-192.467,13.066),(-192.37,14.81),(-192.37,131.81),(-192.468,133.555),(-192.646,134.386),(-193.063,135.186),(-193.725,135.665),(-194.876,135.963),(-195.971,136.05),(-229.94,136.06),(-229.94,137.56),(-196.62,137.56),(-194.668,137.449),(-193.593,137.215),(-192.67,136.799),(-192.271,136.508),(-191.632,135.761),(-191.398,135.32),(-191.08,134.32),(-190.881,132.512),(-190.87,14.81),(-190.981,12.858),(-191.215,11.783),(-191.631,10.86),(-191.922,10.461),(-192.669,9.822),(-193.592,9.406),(-195.269,9.107)])
waveguide_3.add(gdstk.FlexPath([(-229.93,136.81),(-229.95,136.81)], 0.5, ends="flush", simple_path=True, layer=1, datatype=10))  # PinRec
waveguide_3.add(gdstk.FlexPath([(-229.93,9.81),(-229.95,9.81)], 0.5, ends="flush", simple_path=True, layer=1, datatype=10))  # PinRec
waveguide_3.add(gdstk.Label('opt1', (-229.94,136.81), layer=1, texttype=10))
waveguide_3.add(gdstk.Label('opt2', (-229.94,9.81), layer=1, texttype=10))
waveguide_3.add(gdstk.Label('Lumerical_INTERCONNECT_library=Design kits/EBeam', (-229.94,136.71), layer=68, texttype=0))
waveguide_3.add(gdstk.Label('Component=ebeam_wg_integral_1550', (-229.94,136.91), layer=68, texttype=0))
waveguide_3.add(gdstk.Label('cellName=Waveguide', (-229.94,137.01), layer=68, texttype=0))
waveguide_3.add(gdstk.Label('Spice_param:wg_length=0.000200537 wg_width=5e-07 points="[[-229.94,136.81],[-191.62,136.81],[-191.62,9.81],[-229.94,9.81]]" radius=5e-06', (-229.94,136.81), layer=68, texttype=0))
waveguide_3.add(gdstk.Label('Length=200.537 (microns)', (-229.94,136.21), layer=68, texttype=0))
waveguide_3.add(gdstk.Label('waveguide_type=Strip TE 1550 nm, w=500 nm', (-229.94,136.61), layer=68, texttype=0))

ebeam_mehmetunlu_v1_25 = lib.new_cell('EBeam_mehmetunlu_v1$25')
ebeam_mehmetunlu_v1_25.add(gdstk.Reference(ebeam_taper_te1550_1_9_1, (-59.33,13.955), rotation=pi/2))
r = gdstk.Reference(gc_te_1550_8degoxide_bb_, (-77.5,2.43)); r.repetition = gdstk.Repetition(1, 2, v1=(0,0), v2=(0,127)); ebeam_mehmetunlu_v1_25.add(r)
ebeam_mehmetunlu_v1_25.add(gdstk.Reference(waveguide_3_33_1, (172.68,-17.19)))
ebeam_mehmetunlu_v1_25.add(gdstk.Reference(waveguide_9_24_1, (-245.25,202.1)))
ebeam_mehmetunlu_v1_25.add(gdstk.Reference(transition_tests_v03_d02, (-58.28,23.955), rotation=pi/2))
ebeam_mehmetunlu_v1_25.add(gdstk.Reference(ebeam_taper_te1550_1_9_1, (-59.33,117.365), rotation=3*pi/2))
r = gdstk.Reference(gc_te_1550_8degoxide_bb_, (-229.94,9.81)); r.repetition = gdstk.Repetition(1, 2, v1=(0,0), v2=(0,127)); ebeam_mehmetunlu_v1_25.add(r)
ebeam_mehmetunlu_v1_25.add(gdstk.Reference(waveguide_3, (0,0)))
ebeam_mehmetunlu_v1_25.add(gdstk.Label('opt_in_TE_1550_openEBL_mehmetunlu_Ddeneme11', (-229.94,136.81), layer=10, texttype=0))
ebeam_mehmetunlu_v1_25.add(gdstk.Label('opt_in_TE_1550_openEBL_mehmetunlu_Ddeneme12', (-77.5,129.43), layer=10, texttype=0))

lib.write_gds('EBeam_mehmetunlu_v1_25.gds')
